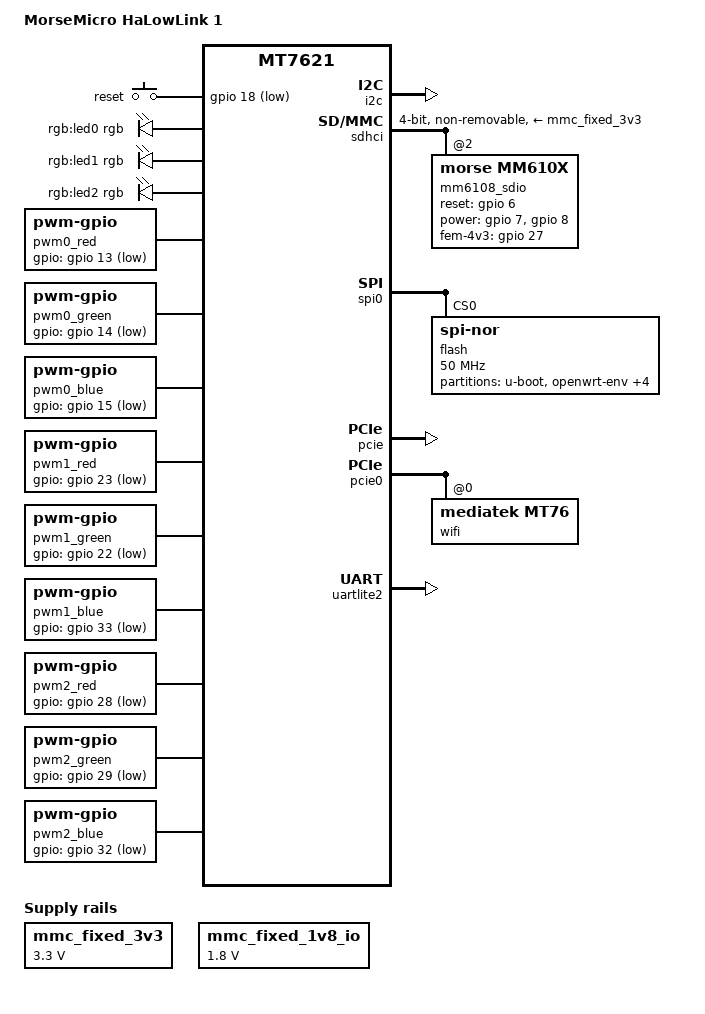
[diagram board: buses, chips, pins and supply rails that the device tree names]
// SPDX-License-Identifier: GPL-2.0-or-later OR MIT

#include "mt7621.dtsi"

#include <dt-bindings/leds/common.h>
#include <dt-bindings/gpio/gpio.h>
#include <dt-bindings/input/input.h>

/ {
	compatible = "morse,halowlink1", "mediatek,mt7621-soc";
	model = "MorseMicro HaLowLink 1";

	aliases {
		led-halow = &led2;
		led-wifi = &led0;
		led-status = &led1;
		label-mac-device = &wan;
	};

	chosen {
		bootargs = "console=ttyS0,115200";
	};

	keys {
		compatible = "gpio-keys";

		reset {
			label = "reset";
			gpios = <&gpio 18 GPIO_ACTIVE_LOW>;
			linux,code = <BTN_0>;
		};
	};

	led0 {
		compatible = "pwm-leds-multicolor";

		led0: multi-led {
			label = "rgb:led0";
			color = <LED_COLOR_ID_RGB>;
			function = LED_FUNCTION_INDICATOR;
			max-brightness = <255>;

			led0_red {
				pwms = <&pwm0_red 0 1000000>;
				color = <LED_COLOR_ID_RED>;
			};

			led0_green {
				pwms = <&pwm0_green 0 1000000>;
				color = <LED_COLOR_ID_GREEN>;
			};

			led0_blue {
				pwms = <&pwm0_blue 0 1000000>;
				color = <LED_COLOR_ID_BLUE>;
			};
		};
	};

	led1 {
		compatible = "pwm-leds-multicolor";

		led1: multi-led {
			label = "rgb:led1";
			color = <LED_COLOR_ID_RGB>;
			function = LED_FUNCTION_INDICATOR;
			max-brightness = <255>;
			linux,default-trigger = "timer";
			led-pattern = <100 100>;
			default-brightness = <255>;
			default-mc-intensity = <0 255 0>;

			led1_red {
				pwms = <&pwm1_red 0 1000000>;
				color = <LED_COLOR_ID_RED>;
			};

			led1_green {
				pwms = <&pwm1_green 0 1000000>;
				color = <LED_COLOR_ID_GREEN>;
			};

			led1_blue {
				pwms = <&pwm1_blue 0 1000000>;
				color = <LED_COLOR_ID_BLUE>;
			};
		};
	};

	led2 {
		compatible = "pwm-leds-multicolor";

		led2: multi-led {
			label = "rgb:led2";
			color = <LED_COLOR_ID_RGB>;
			function = LED_FUNCTION_INDICATOR;
			max-brightness = <255>;

			led2_red {
				pwms = <&pwm2_red 0 1000000>;
				color = <LED_COLOR_ID_RED>;
			};

			led2_green {
				pwms = <&pwm2_green 0 1000000>;
				color = <LED_COLOR_ID_GREEN>;
			};

			led2_blue {
				pwms = <&pwm2_blue 0 1000000>;
				color = <LED_COLOR_ID_BLUE>;
			};
		};
	};

	pwm0_red: pwm0_red {
		#pwm-cells = <2>;
		compatible = "pwm-gpio";
		gpios = <&gpio 13 GPIO_ACTIVE_LOW>;
	};

	pwm0_green: pwm0_green {
		#pwm-cells = <2>;
		compatible = "pwm-gpio";
		gpios = <&gpio 14 GPIO_ACTIVE_LOW>;
	};

	pwm0_blue: pwm0_blue {
		#pwm-cells = <2>;
		compatible = "pwm-gpio";
		gpios = <&gpio 15 GPIO_ACTIVE_LOW>;
	};

	pwm1_red: pwm1_red {
		#pwm-cells = <2>;
		compatible = "pwm-gpio";
		gpios = <&gpio 23 GPIO_ACTIVE_LOW>;
	};

	pwm1_green: pwm1_green {
		#pwm-cells = <2>;
		compatible = "pwm-gpio";
		gpios = <&gpio 22 GPIO_ACTIVE_LOW>;
	};

	pwm1_blue: pwm1_blue {
		#pwm-cells = <2>;
		compatible = "pwm-gpio";
		gpios = <&gpio 33 GPIO_ACTIVE_LOW>;
	};

	pwm2_red: pwm2_red {
		#pwm-cells = <2>;
		compatible = "pwm-gpio";
		gpios = <&gpio 28 GPIO_ACTIVE_LOW>;
	};

	pwm2_green: pwm2_green {
		#pwm-cells = <2>;
		compatible = "pwm-gpio";
		gpios = <&gpio 29 GPIO_ACTIVE_LOW>;
	};

	pwm2_blue: pwm2_blue {
		#pwm-cells = <2>;
		compatible = "pwm-gpio";
		gpios = <&gpio 32 GPIO_ACTIVE_LOW>;
	};

	mmc_clock: mmc_clock@0 {
		#clock-cells = <0>;
		compatible = "fixed-clock";
		clock-frequency = <48000000>;
	};

	mmc_fixed_3v3: fixedregulator@0 {
		compatible = "regulator-fixed";
		regulator-name = "mmc_power";
		regulator-min-microvolt = <3300000>;
		regulator-max-microvolt = <3300000>;
		enable-active-high;
		regulator-always-on;
	};

	mmc_fixed_1v8_io: fixedregulator@1 {
		compatible = "regulator-fixed";
		regulator-name = "mmc_io";
		regulator-min-microvolt = <1800000>;
		regulator-max-microvolt = <1800000>;
		enable-active-high;
		regulator-always-on;

	};
};

&i2c {
	status = "okay";
};

&pinctrl {
	jtag_pins: jtag_pins {
		jtag_pins {
			groups = "jtag";
			function = "gpio";
		};
	};
};

&sdhci {
	compatible = "mediatek,mt7620-mmc";
	status = "okay";
	bus-width = <4>;
	max-frequency = <48000000>;

	cap-sd-highspeed;
	cap-mmc-highspeed;
	vmmc-supply = <&mmc_fixed_3v3>;
	vqmmc-supply = <&mmc_fixed_3v3>;
	non-removable;
	disable-wp;
	cap-sdio-irq;

	pinctrl-names = "default", "state_uhs";
	pinctrl-0 = <&sdhci_pins>;
	pinctrl-1 = <&sdhci_pins>;

	clocks = <&mmc_clock>, <&mmc_clock>;
	clock-names = "source", "hclk";

	mm6108_sdio: mm6108_sdio@0 {
		compatible = "morse,mm610x";
		reset-gpios = <&gpio 6 0>;
		power-gpios = <&gpio 7 0>,
		              <&gpio 8 0>;
		fem-4v3-gpios = <&gpio 27 0>;
		status = "okay";
		reg = <2>;
		bus-width = <4>;
	};
};

&spi0 {
	status = "okay";

	flash@0 {
		compatible = "jedec,spi-nor";
		reg = <0>;
		spi-max-frequency = <50000000>;
		broken-flash-reset;

		partitions {
			compatible = "fixed-partitions";
			#address-cells = <1>;
			#size-cells = <1>;

			partition@0 {
				label = "u-boot";
				reg = <0x0 0x70000>;
				read-only;
			};

			// This is a 'ubootenv' format partition that we use to persist settings
			// between flashes/factory reset (i.e. similar to the factory partition,
			// but writeable by userspace).
			partition@70000 {
				label = "openwrt-env";
				reg = <0x70000 0x10000>;
			};

			partition@80000 {
				label = "u-boot-env";
				reg = <0x80000 0x10000>;
				read-only;
			};

			factory: partition@90000 {
				label = "factory";
				reg = <0x90000 0x10000>;
				read-only;
			};

			partition@A0000 {
				compatible = "denx,uimage";
				label = "linux";
				reg = <0xA0000 0x1f40000>;
			};

			partition@nvram {
				label = "nvram";
				reg = <0x1fe0000 0x20000>;
			};
		};
	};
};

&pcie {
	status = "okay";
};

&pcie0 {
	wifi@0,0 {
		compatible = "mediatek,mt76";
		reg = <0x0000 0 0 0 0>;
		mediatek,mtd-eeprom = <&factory 0x0>;
	};
};

&ethernet {
	/* MDIO is required to be on to talk to GSW controller */
	pinctrl-names = "default";
	pinctrl-0 = <&mdio_pins>;
};

&gmac0 {
	nvmem-cells = <&macaddr_factory_4000>;
	nvmem-cell-names = "mac-address";
	mac-address-increment = <1>;
};

&switch0 {
	ports {
		port@0 {
			status = "okay";
			label = "usblan";
		};

		port@2 {
			status = "okay";
			label = "lan";
		};

		wan: port@4 {
			status = "okay";
			label = "wan";
			nvmem-cells = <&macaddr_factory_4000>;
			nvmem-cell-names = "mac-address";
		};
	};
};

&gpio {
	/* These are the default names from the docs, EXCEPT that those that are connected to the HaLow chip and renamed
	 * (see MM_*).
	 */
	gpio-line-names =
		/* GPIO0 -> GPIO12 */
		"", "RXD1", "TXD1", "I2C_SD", "I2C_SCLK", "", "MM_RESET", "MM_WAKE", "MM_BUSY", "RTS2_N", "CTS2_N", "TXD2", "MM_DBG_TX",
		/* GPIO13 -> GPIO21 */
		"JTDO", "JTDI", "JTMS", "JTCLK", "JTRST_N", "WDT_RST_N", "PERST", "", "",
		/* GPIO22 -> GPIO33 */
		"GE2_TXD0", "GE2_TXD1", "GE2_TXD2", "GE2_TXD3", "GE2_TXEN", "MM_BOOST", "GE2_RXD0", "GE2_RXD1", "GE2_RXD2", "GE2_RXD3", "GE2_RXDV", "GE2_RXCLK",
		/* GPIO34 -> GPIO48 */
		"ND_CS_N", "ND_WE_N", "ND_RE_N", "ND_D4", "ND_D5", "ND_D6", "ND_D7", "ND_WP", "ND_RB_N", "ND_CLE", "ND_ALE", "ND_D0", "ND_D1", "ND_D2", "ND_D3",
		/* GPIO49 -> GPIO63 - unused, but need to be specified to avoid kernel complaints */
		"", "", "", "", "", "", "", "", "", "", "", "", "", "", "",
		/* GPIO64 -> GPIO95 - unused, but need to be specified to avoid kernel complaints */
		"", "", "", "", "", "", "", "", "", "", "", "", "", "", "", "", "", "", "", "", "", "", "", "", "", "", "", "", "", "", "", ""
		;
};

&state_default {
	gpio {
		groups = "wdt", "jtag", "uart3", "rgmii2";
		function = "gpio";
	};
};

/* HaLow DBG_TX is connected to this uart (other lines are unused). */
&uartlite2 {
	status = "okay";
};

&factory {
	compatible = "nvmem-cells";
	#address-cells = <1>;
	#size-cells = <1>;

	macaddr_factory_4000: macaddr@4000 {
		reg = <0x4000 0x6>;
	};
};

&xhci {
	status = "disabled";
};
